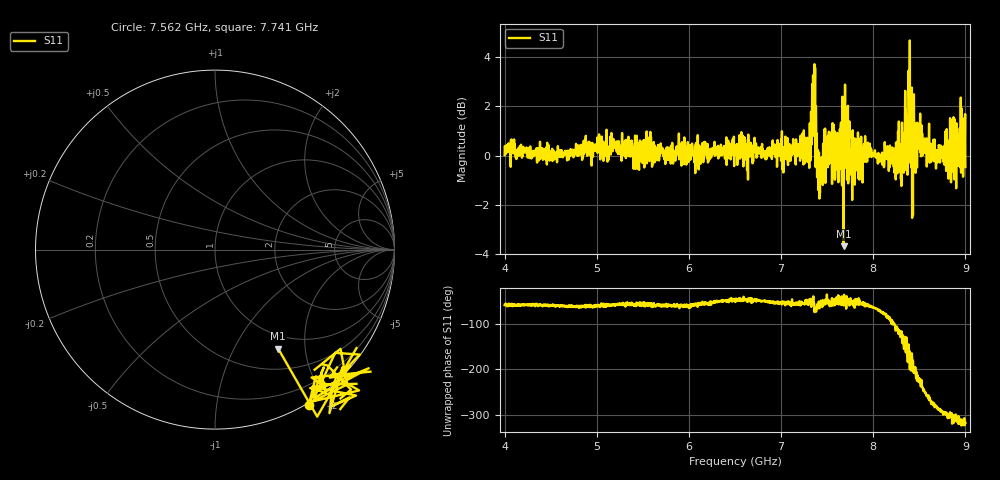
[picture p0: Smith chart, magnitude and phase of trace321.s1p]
! Created with skrf 1.8.0 (http://scikit-rf.org).
# Hz S RI R 50.0
!freq ReS11 ImS11
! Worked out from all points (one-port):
!   1601 points, 4 GHz to 9 GHz, reference 50 ohm
!   lowest |S11| = -3.7 dB at 7.678 GHz (marker M1), VSWR 4.79, Z = 39.5 - j76.2 ohm
!   |S11| at or under -10 dB: nowhere
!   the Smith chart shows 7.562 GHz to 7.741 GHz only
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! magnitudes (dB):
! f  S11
! 4 GHz  0.0
! 4.625 GHz  0.1
! 5.25 GHz  0.4
! 5.875 GHz  0.1
! 6.5 GHz  0.2
! 7.125 GHz  0.3
! 7.297 GHz  0.6
! 7.319 GHz  -0.2
! 7.347 GHz  3.3
! 7.362 GHz  3.7
! 7.4 GHz  0.2
! 7.428 GHz  -0.3
! 7.512 GHz  0.8
! 7.609 GHz  0.9
! 7.65 GHz  1.3
! 7.678 GHz  -3.7
! 7.691 GHz  0.4
! 7.75 GHz  -0.7
! 8.272 GHz  0.6
! 8.312 GHz  1.3
! 8.338 GHz  -0.6
! 8.356 GHz  1.8
! 8.375 GHz  0.4
! 8.447 GHz  1.3
! 8.459 GHz  -0.7
! 8.7 GHz  0.0
! 8.956 GHz  0.2
! 9 GHz  -0.5
